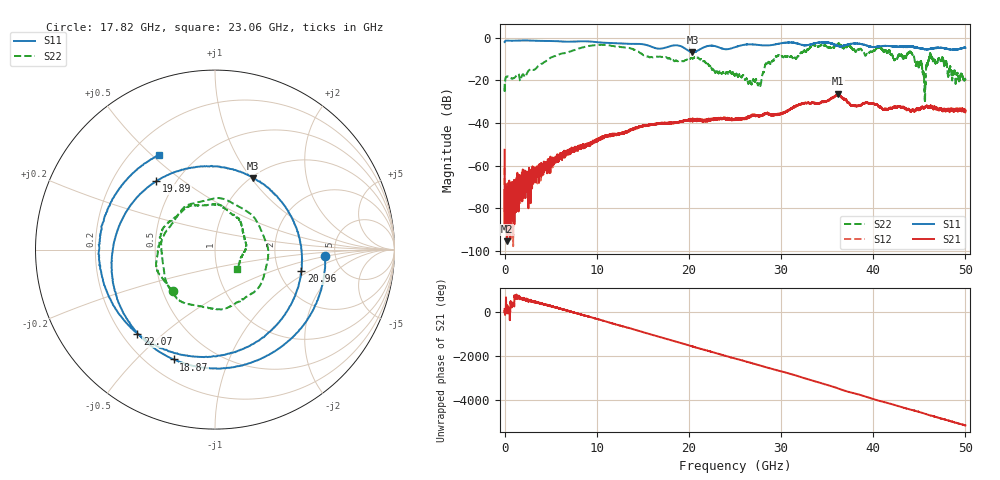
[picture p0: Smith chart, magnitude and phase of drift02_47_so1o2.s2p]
!Created with skrf (http://scikit-rf.org).
# Hz S RI R 50.0
!freq ReS11 ImS11 ReS21 ImS21 ReS12 ImS12 ReS22 ImS22
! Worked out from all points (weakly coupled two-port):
!   10001 points, 300 kHz to 50 GHz, reference 50 ohm
!   highest |S21| = -26.24 dB at 36.14 GHz (marker M1); lowest = -95.4 dB at 280.3 MHz (marker M2)
!   lowest |S11| = -6.9 dB at 20.38 GHz (marker M3), VSWR 2.64, Z = 51.2 + j50.9 ohm
!   |S11| at or under -10 dB: nowhere
!   |S22| runs from -30.5 to -2.7 dB; largest |S21 - S12| = 0.0052
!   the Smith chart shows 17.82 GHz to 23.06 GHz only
!   S11 on the Smith chart (normalised r, x): 17.82 GHz: 4.15, -0.51; 18.87 GHz: 0.30, -0.65; 19.89 GHz: 0.39, +0.40; 20.96 GHz: 2.66, -0.84; 22.07 GHz: 0.26, -0.41; 23.06 GHz: 0.31, +0.53
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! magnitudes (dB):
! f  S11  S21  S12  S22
! 300 kHz  -2.1  -52.5  -61.0  -21.7
! 280.3 MHz  -1.4  -95.4  -80.3  -18.2
! 8.335 GHz  -1.7  -51.3  -51.9  -4.7
! 16.67 GHz  -5.2  -40.3  -40.3  -9.0
! 17.82 GHz  -4.2  -40.0  -39.9  -9.7
! 18.87 GHz  -3.7  -39.7  -39.6  -10.9
! 19.89 GHz  -6.0  -38.5  -38.6  -10.0
! 20.38 GHz  -6.9  -38.6  -38.3  -9.7
! 20.96 GHz  -6.1  -38.5  -38.6  -9.3
! 22.07 GHz  -3.9  -38.4  -39.0  -12.3
! 23.06 GHz  -4.3  -38.5  -37.9  -15.7
! 25 GHz  -4.5  -38.2  -38.5  -17.8
! 27.63 GHz  -3.5  -36.6  -36.8  -21.5
! 28.43 GHz  -3.7  -35.4  -35.5  -12.2
! 29.55 GHz  -3.0  -35.9  -36.1  -8.8
! 33.34 GHz  -3.1  -30.5  -30.5  -3.8
! 36.14 GHz  -3.9  -26.2  -26.9  -3.1
! 41.67 GHz  -3.9  -33.2  -33.4  -6.2
! 44.15 GHz  -4.2  -34.3  -34.5  -7.2
! 45.51 GHz  -5.3  -33.0  -33.2  -18.2
! 46.28 GHz  -5.2  -32.1  -32.1  -8.8
! 50 GHz  -4.8  -34.3  -34.4  -19.8
